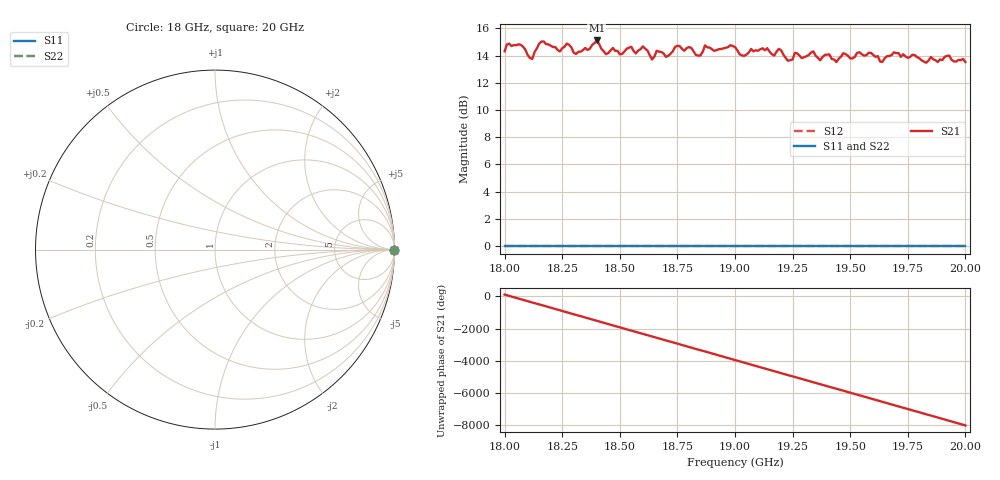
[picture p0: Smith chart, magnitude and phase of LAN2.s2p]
!Agilent N9918A: A.07.57
!Date: Tuesday, 28 July 2020 14:29:10
!Timezone: (GMT-08:00) Pacific Time (US & Canada)
!Model: N9918A
!Serial: MY53103598
!GPS Latitude:
!GPS Longitude:
!GPS TimeStamp: 0001-01-01 00:00:00Z
!GPS Seconds Since Last Read: 0
!CHECKSUM:1057999821
!Correction: S11()S21(Rdy)S12()S22()
!S2P File: Measurements:S11,S21,S12,S22:
# Hz S DB R 50
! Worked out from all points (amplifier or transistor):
!   201 points, 18 GHz to 20 GHz, reference 50 ohm
!   highest |S21| = 15.1 dB at 18.4 GHz (marker M1)
!   |S21| within 3 dB of that: start of sweep to end of sweep
!   unconditionally stable (mu >= 1): nowhere
!   at 18.33 GHz: K = 3.39, MSG = 7.1 dB, |S12| = 0.0 dB
!   at 19 GHz: K = 1.71, MSG = 7.3 dB, |S12| = 0.0 dB
!   at 20 GHz: K = 2.38, MSG = 6.8 dB, |S12| = 0.0 dB
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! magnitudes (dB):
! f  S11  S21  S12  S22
! 18 GHz  0.0  14.3  0.0  0.0
! 18.07 GHz  0.0  14.8  0.0  0.0
! 18.12 GHz  0.0  13.7  0.0  0.0
! 18.17 GHz  0.0  15.0  0.0  0.0
! 18.24 GHz  0.0  14.3  0.0  0.0
! 18.27 GHz  0.0  14.9  0.0  0.0
! 18.31 GHz  0.0  14.1  0.0  0.0
! 18.34 GHz  0.0  14.4  0.0  0.0
! 18.4 GHz  0.0  15.1  0.0  0.0
! 18.44 GHz  0.0  14.1  0.0  0.0
! 18.6 GHz  0.0  14.7  0.0  0.0
! 18.64 GHz  0.0  13.7  0.0  0.0
! 18.67 GHz  0.0  14.3  0.0  0.0
! 19 GHz  0.0  14.6  0.0  0.0
! 19.04 GHz  0.0  14.0  0.0  0.0
! 19.19 GHz  0.0  14.5  0.0  0.0
! 19.23 GHz  0.0  13.6  0.0  0.0
! 19.34 GHz  0.0  14.3  0.0  0.0
! 19.44 GHz  0.0  13.5  0.0  0.0
! 19.47 GHz  0.0  14.2  0.0  0.0
! 19.67 GHz  0.0  14.0  0.0  0.0
! 20 GHz  0.0  13.5  0.0  0.0
